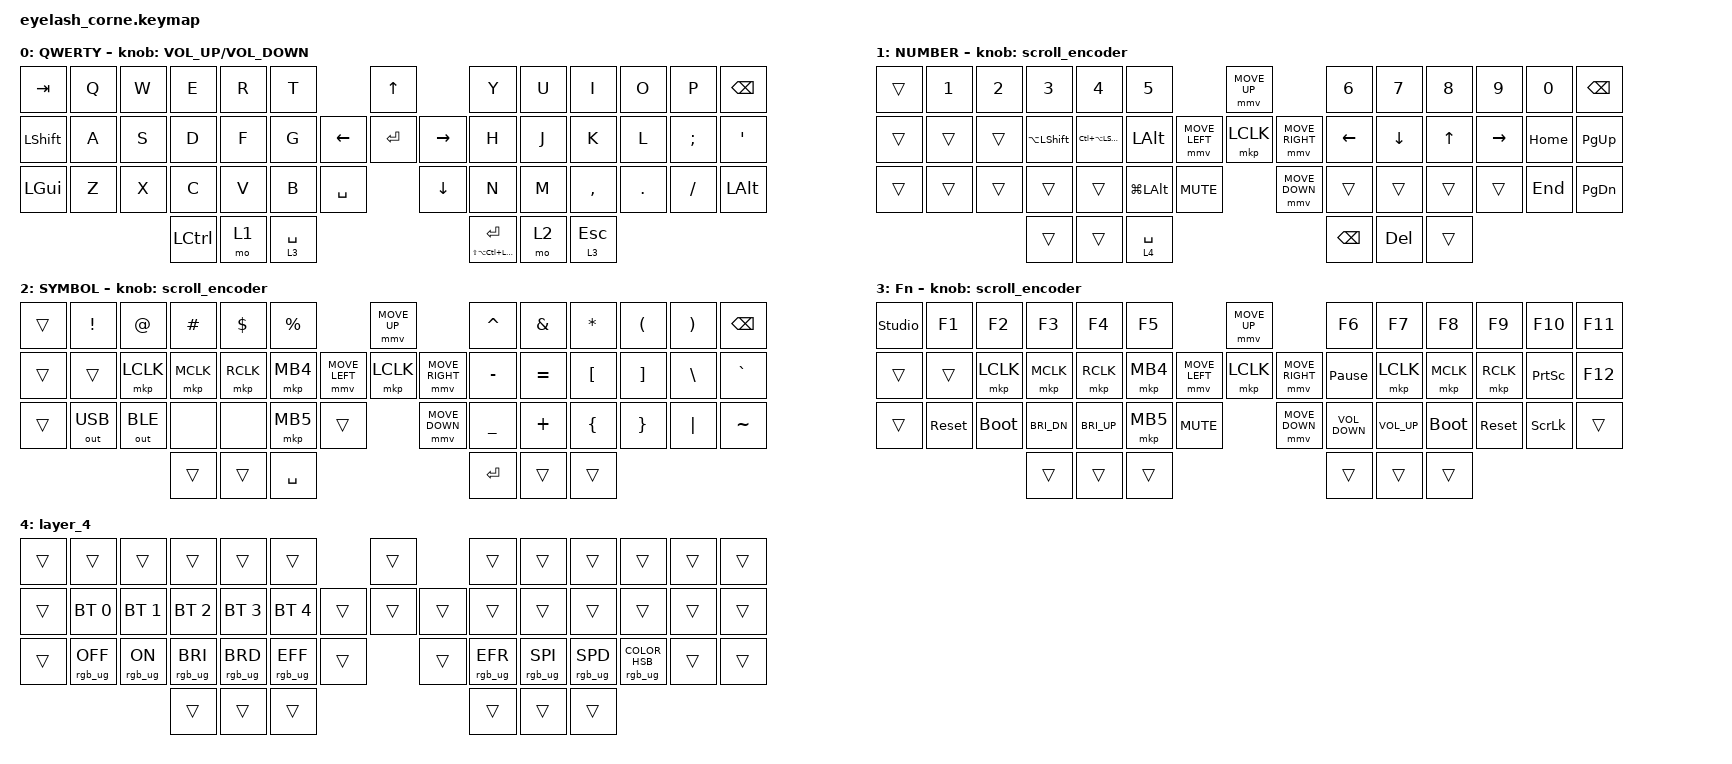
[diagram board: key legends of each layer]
#define ZMK_POINTING_DEFAULT_MOVE_VAL 1200  // 600
#define ZMK_POINTING_DEFAULT_SCRL_VAL 25   // 10

#include <input/processors.dtsi>
#include <zephyr/dt-bindings/input/input-event-codes.h>
#include <behaviors.dtsi>
#include <dt-bindings/zmk/bt.h>
#include <dt-bindings/zmk/keys.h>
#include <dt-bindings/zmk/outputs.h>
#include <dt-bindings/zmk/pointing.h>
#include <dt-bindings/zmk/rgb.h>

&mmv_input_listener { input-processors = <&zip_xy_scaler 2 1>; };

&msc_input_listener { input-processors = <&zip_scroll_scaler 2 1>; };

&msc {
    acceleration-exponent = <1>;      // 0
    time-to-max-speed-ms = <100>;       // 300
    delay-ms = <0>;                   // 0
};

&mmv {
    time-to-max-speed-ms = <500>;
    acceleration-exponent = <1>;
    trigger-period-ms = <16>;
};

/ {
    behaviors {
        td0: td0 {
            compatible = "zmk,behavior-tap-dance";
            display-name = "Shift/Caps Lock Tap Dance";
            #binding-cells = <0>;
            bindings = <&kp LEFT_SHIFT>, <&kp CAPS>;
        };
    };

    rgb_encoder: rgb_encoder {
        compatible = "zmk,behavior-sensor-rotate";
        #sensor-binding-cells = <0>;
        bindings = <&rgb_ug RGB_BRI>, <&rgb_ug RGB_BRD>;
    };

    scroll_encoder: scroll_encoder {
        compatible = "zmk,behavior-sensor-rotate";
        #sensor-binding-cells = <0>;
        bindings = <&msc SCRL_DOWN>, <&msc SCRL_UP>;

        tap-ms = <100>;
    };

    combos {
        compatible = "zmk,combos";

        Clear-all-bluetooth {
            bindings = <&bt BT_CLR>;
            key-positions = <1 14 29>;
            layers = <2>;
            require-prior-idle-ms = <0>;
            timeout-ms = <50>;
        };

        screen_cut_prefix {
            bindings = <&kp LG(LC(LEFT_SHIFT))>;
            key-positions = <13 14>;
            layers = <1>;
        };
    };

    keymap {
        compatible = "zmk,keymap";

        default_layer {
            display-name = "QWERTY";
            bindings = <
&kp TAB         &kp Q  &kp W  &kp E      &kp R  &kp T                               &kp UP                &kp Y                           &kp U  &kp I         &kp O    &kp P     &kp BACKSPACE
&kp LEFT_SHIFT  &kp A  &kp S  &kp D      &kp F  &kp G                     &kp LEFT  &kp ENTER  &kp RIGHT  &kp H                           &kp J  &kp K         &kp L    &kp SEMI  &kp SQT
&kp LGUI        &kp Z  &kp X  &kp C      &kp V  &kp B        &kp SPACE              &kp DOWN              &kp N                           &kp M  &kp COMMA     &kp DOT  &kp FSLH  &kp LEFT_ALT
                              &kp LCTRL  &mo 1  &lt 3 SPACE                                               &mt LS(LA(LC(LEFT_GUI))) ENTER  &mo 2  &lt 3 ESCAPE
            >;

            sensor-bindings = <&inc_dec_kp C_VOLUME_UP C_VOLUME_DOWN>;
        };

        lower_layer {
            display-name = "NUMBER";
            bindings = <
&trans  &kp N1  &kp N2  &kp N3              &kp N4             &kp N5                                          &mmv MOVE_UP                     &kp N6         &kp N7    &kp N8  &kp N9     &kp N0    &kp BSPC
&trans  &trans  &trans  &kp LA(LEFT_SHIFT)  &kp LC(LA(LSHFT))  &kp LEFT_ALT                    &mmv MOVE_LEFT  &mkp LCLK       &mmv MOVE_RIGHT  &kp LEFT       &kp DOWN  &kp UP  &kp RIGHT  &kp HOME  &kp PG_UP
&trans  &trans  &trans  &trans              &trans             &kp LG(LEFT_ALT)  &kp C_MUTE                    &mmv MOVE_DOWN                   &trans         &trans    &trans  &trans     &kp END   &kp PG_DN
                        &trans              &trans             &lt 4 SPACE                                                                      &kp BACKSPACE  &kp DEL   &trans
            >;

            sensor-bindings = <&scroll_encoder>;
        };

        raise_layer {
            display-name = "SYMBOL";
            bindings = <
&trans  &kp EXCL      &kp AT        &kp HASH   &kp DLLR   &kp PRCNT                            &mmv MOVE_UP                     &kp CARET  &kp AMPS   &kp ASTRK  &kp LPAR  &kp RPAR  &kp BSPC
&trans  &trans        &mkp LCLK     &mkp MCLK  &mkp RCLK  &mkp MB4             &mmv MOVE_LEFT  &mkp LCLK       &mmv MOVE_RIGHT  &kp MINUS  &kp EQUAL  &kp LBKT   &kp RBKT  &kp BSLH  &kp GRAVE
&trans  &out OUT_USB  &out OUT_BLE  &none      &none      &mkp MB5   &trans                    &mmv MOVE_DOWN                   &kp UNDER  &kp PLUS   &kp LBRC   &kp RBRC  &kp PIPE  &kp TILDE
                                    &trans     &trans     &kp SPACE                                                             &kp RET    &trans     &trans
            >;

            sensor-bindings = <&scroll_encoder>;
        };

        layer_3 {
            display-name = "Fn";
            bindings = <
&studio_unlock  &kp F1      &kp F2       &kp F3        &kp F4        &kp F5                                  &mmv MOVE_UP                     &kp F6             &kp F7           &kp F8       &kp F9      &kp F10          &kp F11
&trans          &trans      &mkp LCLK    &mkp MCLK     &mkp RCLK     &mkp MB4                &mmv MOVE_LEFT  &mkp LCLK       &mmv MOVE_RIGHT  &kp PAUSE_BREAK    &mkp LCLK        &mkp MCLK    &mkp RCLK   &kp PRINTSCREEN  &kp F12
&trans          &sys_reset  &bootloader  &kp C_BRI_DN  &kp C_BRI_UP  &mkp MB5  &kp C_MUTE                    &mmv MOVE_DOWN                   &kp C_VOLUME_DOWN  &kp C_VOLUME_UP  &bootloader  &sys_reset  &kp SCROLLLOCK   &trans
                                         &trans        &trans        &trans                                                                   &trans             &trans           &trans
            >;

            sensor-bindings = <&scroll_encoder>;
        };

        layer_4 {
            bindings = <
&trans  &trans           &trans          &trans           &trans           &trans                             &trans          &trans           &trans           &trans           &trans                          &trans  &trans
&trans  &bt BT_SEL 0     &bt BT_SEL 1    &bt BT_SEL 2     &bt BT_SEL 3     &bt BT_SEL 4               &trans  &trans  &trans  &trans           &trans           &trans           &trans                          &trans  &trans
&trans  &rgb_ug RGB_OFF  &rgb_ug RGB_ON  &rgb_ug RGB_BRI  &rgb_ug RGB_BRD  &rgb_ug RGB_EFF  &trans            &trans          &rgb_ug RGB_EFR  &rgb_ug RGB_SPI  &rgb_ug RGB_SPD  &rgb_ug RGB_COLOR_HSB(297,0,0)  &trans  &trans
                                         &trans           &trans           &trans                                             &trans           &trans           &trans
            >;
        };
    };
};
